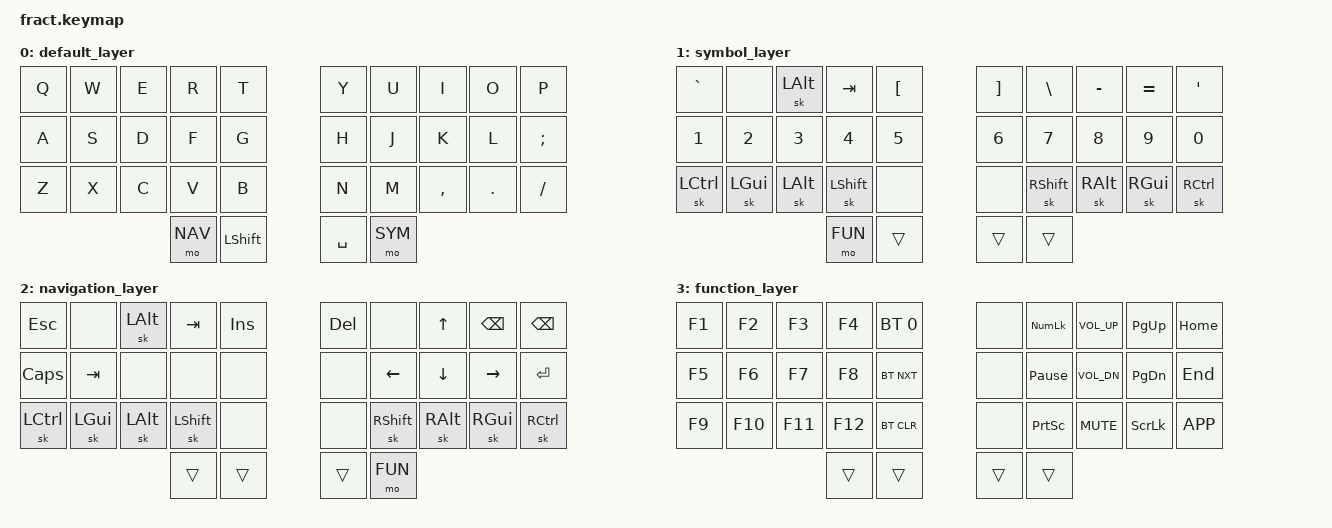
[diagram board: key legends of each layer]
/*
 * Copyright (c) 2024 The ZMK Contributors
 *
 * SPDX-License-Identifier: MIT
 */

#include <behaviors.dtsi>
#include <dt-bindings/zmk/keys.h>
#include <dt-bindings/zmk/bt.h>

#define DEF 0
#define SYM 1
#define NAV 2
#define FUN 3

/ {
    keymap {
        compatible = "zmk,keymap";

        default_layer {
            bindings = <
                &kp Q &kp W &kp E &kp R   &kp T     &kp Y     &kp U   &kp I     &kp O   &kp P
                &kp A &kp S &kp D &kp F   &kp G     &kp H     &kp J   &kp K     &kp L   &kp SEMI
                &kp Z &kp X &kp C &kp V   &kp B     &kp N     &kp M   &kp COMMA &kp DOT &kp SLASH
                                  &mo NAV &kp LSHFT &kp SPACE &mo SYM 
            >;
        };

        symbol_layer {
            bindings = <
                &kp GRAVE &none    &sk LALT &kp TAB   &kp LBKT &kp RBKT &kp BSLH  &kp MINUS &kp EQUAL &kp SQT
                &kp N1    &kp N2   &kp N3   &kp N4    &kp N5   &kp N6   &kp N7    &kp N8    &kp N9    &kp N0
                &sk LCTRL &sk LGUI &sk LALT &sk LSHFT &none    &none    &sk RSHFT &sk RALT  &sk RGUI  &sk RCTRL
                                            &mo FUN   &trans   &trans   &trans
            >;
        };

        navigation_layer {
            bindings = <
                &kp ESC   &none    &sk LALT &kp TAB   &kp INS &kp DEL &none     &kp UP   &kp BSPC  &kp BSPC    
                &kp CAPS  &kp TAB  &none    &none     &none   &none   &kp LEFT  &kp DOWN &kp RIGHT &kp ENTER
                &sk LCTRL &sk LGUI &sk LALT &sk LSHFT &none   &none   &sk RSHFT &sk RALT &sk RGUI  &sk RCTRL 
                                            &trans    &trans  &trans  &mo FUN
            >;
        };

        function_layer {
            bindings = <
                &kp F1  &kp F2  &kp F3  &kp F4  &bt BT_SEL 0 &none  &kp KP_NUM      &kp K_VOL_UP &kp PG_UP &kp HOME
                &kp F5  &kp F6  &kp F7  &kp F8  &bt BT_NXT   &none  &kp PAUSE_BREAK &kp K_VOL_DN &kp PG_DN &kp END
                &kp F9  &kp F10 &kp F11 &kp F12 &bt BT_CLR   &none  &kp PSCRN       &kp K_MUTE   &kp SLCK  &kp K_APP 
                                        &trans  &trans       &trans &trans
            >;
        };
    };
};
